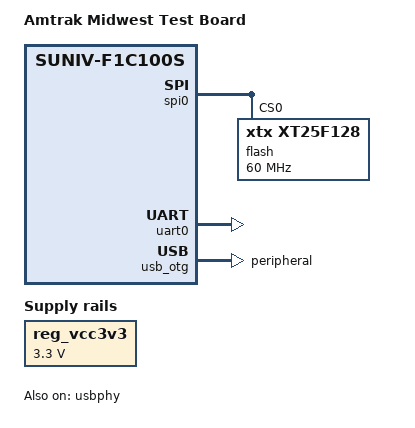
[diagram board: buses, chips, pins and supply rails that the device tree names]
// SPDX-License-Identifier: (GPL-2.0+ OR X11)
/*
 * Based on work:
 *   Copyright 2018 Icenowy Zheng <icenowy@aosc.io>
 */

/dts-v1/;
#include "suniv-f1c100s.dtsi"

#include <dt-bindings/gpio/gpio.h>

/ {
	model = "Amtrak Midwest Test Board";
	compatible = "nasmith,amtrak-midwest-test", "allwinner,suniv-f1c200s",
												"allwinner,suniv-f1c100s";

	aliases {
		serial0 = &uart0;
		spi0 = &spi0;
	};

	chosen {
		stdout-path = "serial0:115200n8";
	};

	reg_vcc3v3: vcc3v3 {
		compatible = "regulator-fixed";
		regulator-name = "vcc3v3";
		regulator-min-microvolt = <3300000>;
		regulator-max-microvolt = <3300000>;
	};
};

&spi0 {
	pinctrl-names = "default";
	pinctrl-0 = <&spi0_pc_pins>;
	status = "okay";

	flash@0 {
		#address-cells = <1>;
		#size-cells = <1>;
		compatible = "xtx,xt25f128", "jedec,spi-nor";
		reg = <0>;
		spi-max-frequency = <60000000>;
	};
};

&otg_sram {
	status = "okay";
};

&uart0 {
	pinctrl-names = "default";
	pinctrl-0 = <&uart0_pe_pins>;
	status = "okay";
};

&usb_otg {
	dr_mode = "peripheral";
	status = "okay";
};

&usbphy {
	status = "okay";
};
